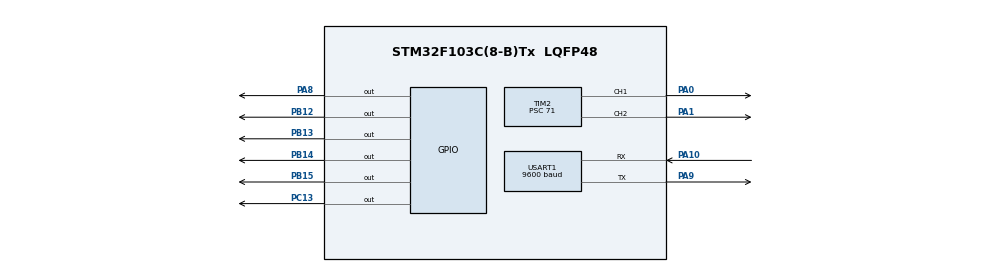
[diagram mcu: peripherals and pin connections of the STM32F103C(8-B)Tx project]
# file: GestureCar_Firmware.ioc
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Mcu.Family=STM32F1
Mcu.Name=STM32F103C(8-B)Tx
Mcu.Package=LQFP48
NVIC.PriorityGroup=NVIC_PRIORITYGROUP_4
NVIC.USART1_IRQn=true\:0\:0\:false\:false\:true\:true\:true\:true
PA0-WKUP.Signal=S_TIM2_CH1_ETR
PA1.Signal=S_TIM2_CH2
PA10.Mode=Asynchronous
PA10.Signal=USART1_RX
PA8.Signal=GPIO_Output
PA9.Mode=Asynchronous
PA9.Signal=USART1_TX
PB12.Signal=GPIO_Output
PB13.Signal=GPIO_Output
PB14.Signal=GPIO_Output
PB15.Signal=GPIO_Output
PC13-TAMPER-RTC.Signal=GPIO_Output
ProjectManager.HeapSize=0x200
ProjectManager.StackSize=0x400
ProjectManager.TargetToolchain=STM32CubeIDE
RCC.APB1Freq_Value=8000000
RCC.APB2Freq_Value=8000000
SH.S_TIM2_CH1_ETR.0=TIM2_CH1,PWM Generation1 CH1
SH.S_TIM2_CH2.0=TIM2_CH2,PWM Generation2 CH2
TIM2.Channel-PWM\ Generation1\ CH1=TIM_CHANNEL_1
TIM2.Channel-PWM\ Generation2\ CH2=TIM_CHANNEL_2
TIM2.Period=999
TIM2.Prescaler=71
USART1.BaudRate=9600
USART1.VirtualMode=VM_ASYNC
VP_SYS_VS_ND.Mode=No_Debug
board=custom

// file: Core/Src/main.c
/* USER CODE BEGIN Header */
/**
  ******************************************************************************
  * @file           : main.c
  * @brief          : Main program body
  ******************************************************************************
  * @attention
  *
  * Copyright (c) 2026 STMicroelectronics.
  * All rights reserved.
  *
  * This software is licensed under terms that can be found in the LICENSE file
  * in the root directory of this software component.
  * If no LICENSE file comes with this software, it is provided AS-IS.
  *
  ******************************************************************************
  */
/* USER CODE END Header */
#include "main.h"

TIM_HandleTypeDef htim2;

UART_HandleTypeDef huart1;

/* USER CODE BEGIN PV */
uint8_t rxByte;
volatile uint32_t lastCommandTick = 0;
volatile uint8_t motorRunning = 0;
/* USER CODE END PV */

void SystemClock_Config(void);
static void MX_GPIO_Init(void);
static void MX_USART1_UART_Init(void);
static void MX_TIM2_Init(void);

int main(void)
{

  /* MCU Configuration--------------------------------------------------------*/

  /* Reset of all peripherals, Initializes the Flash interface and the Systick. */
  HAL_Init();

  /* Configure the system clock */
  SystemClock_Config();

  /* Initialize all configured peripherals */
  MX_GPIO_Init();
  MX_USART1_UART_Init();
  MX_TIM2_Init();
  /* USER CODE BEGIN 2 */
  HAL_UART_Receive_IT(&huart1, &rxByte, 1);
  HAL_GPIO_WritePin(GPIOB, GPIO_PIN_12, GPIO_PIN_RESET); // STBY LOW

  HAL_TIM_PWM_Start(&htim2, TIM_CHANNEL_1);
  HAL_TIM_PWM_Start(&htim2, TIM_CHANNEL_2);

  __HAL_TIM_SET_COMPARE(&htim2, TIM_CHANNEL_1, 0);
  __HAL_TIM_SET_COMPARE(&htim2, TIM_CHANNEL_2, 0);

  HAL_UART_Receive_IT(&huart1, &rxByte, 1);
  /* USER CODE END 2 */

  /* Infinite loop */
  while (1)
  {

    /* USER CODE BEGIN 3 */
	  if (motorRunning &&
	      (HAL_GetTick() - lastCommandTick >= 500))
	  {
	      __HAL_TIM_SET_COMPARE(&htim2, TIM_CHANNEL_1, 0);
	      __HAL_TIM_SET_COMPARE(&htim2, TIM_CHANNEL_2, 0);

	      HAL_GPIO_WritePin(GPIOB, GPIO_PIN_12, GPIO_PIN_RESET);
	      motorRunning = 0;
	  }
  }
  /* USER CODE END 3 */
}

void SystemClock_Config(void)
{
  RCC_OscInitTypeDef RCC_OscInitStruct = {0};
  RCC_ClkInitTypeDef RCC_ClkInitStruct = {0};

  /** Initializes the RCC Oscillators according to the specified parameters
  * in the RCC_OscInitTypeDef structure.
  */
  RCC_OscInitStruct.OscillatorType = RCC_OSCILLATORTYPE_HSI;
  RCC_OscInitStruct.HSIState = RCC_HSI_ON;
  RCC_OscInitStruct.HSICalibrationValue = RCC_HSICALIBRATION_DEFAULT;
  RCC_OscInitStruct.PLL.PLLState = RCC_PLL_NONE;
  if (HAL_RCC_OscConfig(&RCC_OscInitStruct) != HAL_OK)
  {
    Error_Handler();
  }

  /** Initializes the CPU, AHB and APB buses clocks
  */
  RCC_ClkInitStruct.ClockType = RCC_CLOCKTYPE_HCLK|RCC_CLOCKTYPE_SYSCLK
                              |RCC_CLOCKTYPE_PCLK1|RCC_CLOCKTYPE_PCLK2;
  RCC_ClkInitStruct.SYSCLKSource = RCC_SYSCLKSOURCE_HSI;
  RCC_ClkInitStruct.AHBCLKDivider = RCC_SYSCLK_DIV1;
  RCC_ClkInitStruct.APB1CLKDivider = RCC_HCLK_DIV1;
  RCC_ClkInitStruct.APB2CLKDivider = RCC_HCLK_DIV1;

  if (HAL_RCC_ClockConfig(&RCC_ClkInitStruct, FLASH_LATENCY_0) != HAL_OK)
  {
    Error_Handler();
  }
}

static void MX_TIM2_Init(void)
{

  TIM_MasterConfigTypeDef sMasterConfig = {0};
  TIM_OC_InitTypeDef sConfigOC = {0};

  htim2.Instance = TIM2;
  htim2.Init.Prescaler = 71;
  htim2.Init.CounterMode = TIM_COUNTERMODE_UP;
  htim2.Init.Period = 999;
  htim2.Init.ClockDivision = TIM_CLOCKDIVISION_DIV1;
  htim2.Init.AutoReloadPreload = TIM_AUTORELOAD_PRELOAD_DISABLE;
  if (HAL_TIM_PWM_Init(&htim2) != HAL_OK)
  {
    Error_Handler();
  }
  sMasterConfig.MasterOutputTrigger = TIM_TRGO_RESET;
  sMasterConfig.MasterSlaveMode = TIM_MASTERSLAVEMODE_DISABLE;
  if (HAL_TIMEx_MasterConfigSynchronization(&htim2, &sMasterConfig) != HAL_OK)
  {
    Error_Handler();
  }
  sConfigOC.OCMode = TIM_OCMODE_PWM1;
  sConfigOC.Pulse = 0;
  sConfigOC.OCPolarity = TIM_OCPOLARITY_HIGH;
  sConfigOC.OCFastMode = TIM_OCFAST_DISABLE;
  if (HAL_TIM_PWM_ConfigChannel(&htim2, &sConfigOC, TIM_CHANNEL_1) != HAL_OK)
  {
    Error_Handler();
  }
  if (HAL_TIM_PWM_ConfigChannel(&htim2, &sConfigOC, TIM_CHANNEL_2) != HAL_OK)
  {
    Error_Handler();
  }
  HAL_TIM_MspPostInit(&htim2);

}

static void MX_USART1_UART_Init(void)
{

  huart1.Instance = USART1;
  huart1.Init.BaudRate = 9600;
  huart1.Init.WordLength = UART_WORDLENGTH_8B;
  huart1.Init.StopBits = UART_STOPBITS_1;
  huart1.Init.Parity = UART_PARITY_NONE;
  huart1.Init.Mode = UART_MODE_TX_RX;
  huart1.Init.HwFlowCtl = UART_HWCONTROL_NONE;
  huart1.Init.OverSampling = UART_OVERSAMPLING_16;
  if (HAL_UART_Init(&huart1) != HAL_OK)
  {
    Error_Handler();
  }

}

static void MX_GPIO_Init(void)
{
  GPIO_InitTypeDef GPIO_InitStruct = {0};

  /* GPIO Ports Clock Enable */
  __HAL_RCC_GPIOC_CLK_ENABLE();
  __HAL_RCC_GPIOA_CLK_ENABLE();
  __HAL_RCC_GPIOB_CLK_ENABLE();

  /*Configure GPIO pin Output Level */
  HAL_GPIO_WritePin(GPIOC, GPIO_PIN_13, GPIO_PIN_RESET);

  /*Configure GPIO pin Output Level */
  HAL_GPIO_WritePin(GPIOB, GPIO_PIN_12|GPIO_PIN_13|GPIO_PIN_14|GPIO_PIN_15, GPIO_PIN_RESET);

  /*Configure GPIO pin Output Level */
  HAL_GPIO_WritePin(GPIOA, GPIO_PIN_8, GPIO_PIN_RESET);

  /*Configure GPIO pin : PC13 */
  GPIO_InitStruct.Pin = GPIO_PIN_13;
  GPIO_InitStruct.Mode = GPIO_MODE_OUTPUT_PP;
  GPIO_InitStruct.Pull = GPIO_NOPULL;
  GPIO_InitStruct.Speed = GPIO_SPEED_FREQ_LOW;
  HAL_GPIO_Init(GPIOC, &GPIO_InitStruct);

  /*Configure GPIO pins : PB12 PB13 PB14 PB15 */
  GPIO_InitStruct.Pin = GPIO_PIN_12|GPIO_PIN_13|GPIO_PIN_14|GPIO_PIN_15;
  GPIO_InitStruct.Mode = GPIO_MODE_OUTPUT_PP;
  GPIO_InitStruct.Pull = GPIO_NOPULL;
  GPIO_InitStruct.Speed = GPIO_SPEED_FREQ_LOW;
  HAL_GPIO_Init(GPIOB, &GPIO_InitStruct);

  /*Configure GPIO pin : PA8 */
  GPIO_InitStruct.Pin = GPIO_PIN_8;
  GPIO_InitStruct.Mode = GPIO_MODE_OUTPUT_PP;
  GPIO_InitStruct.Pull = GPIO_NOPULL;
  GPIO_InitStruct.Speed = GPIO_SPEED_FREQ_LOW;
  HAL_GPIO_Init(GPIOA, &GPIO_InitStruct);

}

/* USER CODE BEGIN 4 */
void HAL_UART_RxCpltCallback(UART_HandleTypeDef *huart)
{
    if (huart->Instance == USART1)
    {
    	HAL_GPIO_TogglePin(GPIOC,GPIO_PIN_13);
    	if (rxByte == 'F' || rxByte == 'f')
    	{
    	    // Both motors forward
    	    HAL_GPIO_WritePin(GPIOB, GPIO_PIN_13, GPIO_PIN_SET);   // AIN1
    	    HAL_GPIO_WritePin(GPIOB, GPIO_PIN_14, GPIO_PIN_RESET); // AIN2
    	    HAL_GPIO_WritePin(GPIOB, GPIO_PIN_15, GPIO_PIN_SET);   // BIN1
    	    HAL_GPIO_WritePin(GPIOA, GPIO_PIN
            _8, GPIO_PIN_RESET);  // BIN2

    	    __HAL_TIM_SET_COMPARE(&htim2, TIM_CHANNEL_1, 800);
    	    __HAL_TIM_SET_COMPARE(&htim2, TIM_CHANNEL_2, 800);

    	    motorRunning = 1;
    	    lastCommandTick = HAL_GetTick();
    	    HAL_GPIO_WritePin(GPIOB, GPIO_PIN_12, GPIO_PIN_SET);
    	}
    	else if (rxByte == 'B' || rxByte == 'b')
    	{
    	    // Both motors reverse
    	    HAL_GPIO_WritePin(GPIOB, GPIO_PIN_13, GPIO_PIN_RESET);
    	    HAL_GPIO_WritePin(GPIOB, GPIO_PIN_14, GPIO_PIN_SET);
    	    HAL_GPIO_WritePin(GPIOB, GPIO_PIN_15, GPIO_PIN_RESET);
    	    HAL_GPIO_WritePin(GPIOA, GPIO_PIN_8, GPIO_PIN_SET);

    	    __HAL_TIM_SET_COMPARE(&htim2, TIM_CHANNEL_1, 800);
    	    __HAL_TIM_SET_COMPARE(&htim2, TIM_CHANNEL_2, 800);

    	    motorRunning = 1;
    	    lastCommandTick = HAL_GetTick();
    	    HAL_GPIO_WritePin(GPIOB, GPIO_PIN_12, GPIO_PIN_SET);
    	}
    	else if (rxByte == 'L' || rxByte == 'l')
    	{
    	    // Turn left: A reverse, B forward
    	    HAL_GPIO_WritePin(GPIOB, GPIO_PIN_13, GPIO_PIN_RESET);
    	    HAL_GPIO_WritePin(GPIOB, GPIO_PIN_14, GPIO_PIN_SET);
    	    HAL_GPIO_WritePin(GPIOB, GPIO_PIN_15, GPIO_PIN_SET);
    	    HAL_GPIO_WritePin(GPIOA, GPIO_PIN_8, GPIO_PIN_RESET);

    	    __HAL_TIM_SET_COMPARE(&htim2, TIM_CHANNEL_1, 700);
    	    __HAL_TIM_SET_COMPARE(&htim2, TIM_CHANNEL_2, 700);

    	    motorRunning = 1;
    	    lastCommandTick = HAL_GetTick();
    	    HAL_GPIO_WritePin(GPIOB, GPIO_PIN_12, GPIO_PIN_SET);
    	}
    	else if (rxByte == 'R' || rxByte == 'r')
    	{
    	    // Turn right: A forward, B reverse
    	    HAL_GPIO_WritePin(GPIOB, GPIO_PIN_13, GPIO_PIN_SET);
    	    HAL_GPIO_WritePin(GPIOB, GPIO_PIN_14, GPIO_PIN_RESET);
    	    HAL_GPIO_WritePin(GPIOB, GPIO_PIN_15, GPIO_PIN_RESET);
    	    HAL_GPIO_WritePin(GPIOA, GPIO_PIN_8, GPIO_PIN_SET);

    	    __HAL_TIM_SET_COMPARE(&htim2, TIM_CHANNEL_1, 700);
    	    __HAL_TIM_SET_COMPARE(&htim2, TIM_CHANNEL_2, 700);

    	    motorRunning = 1;
    	    lastCommandTick = HAL_GetTick();
    	    HAL_GPIO_WritePin(GPIOB, GPIO_PIN_12, GPIO_PIN_SET);
    	}
    	else if (rxByte == 'S' || rxByte == 's')
    	{
    	    __HAL_TIM_SET_COMPARE(&htim2, TIM_CHANNEL_1, 0);
    	    __HAL_TIM_SET_COMPARE(&htim2, TIM_CHANNEL_2, 0);

    	    HAL_GPIO_WritePin(GPIOB, GPIO_PIN_12, GPIO_PIN_RESET);
    	    motorRunning = 0;
    	}
        HAL_UART_Receive_IT(&huart1, &rxByte, 1);
    }
}
/* USER CODE END 4 */

void Error_Handler(void)
{
  __disable_irq();
  while (1)
  {
  }
}
